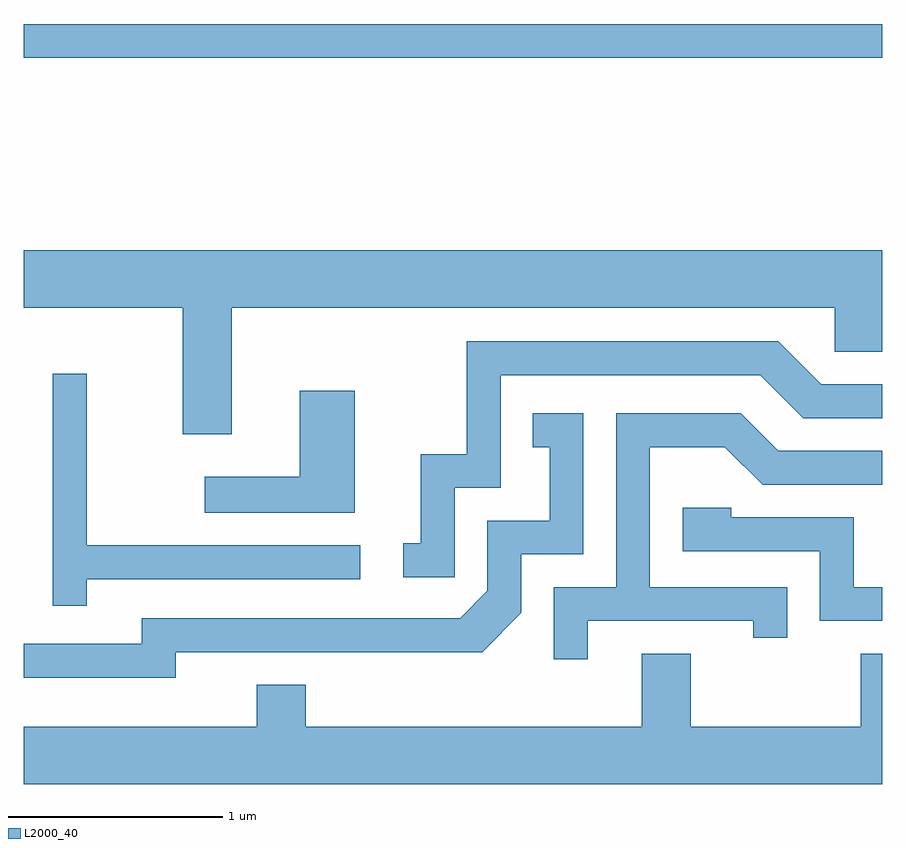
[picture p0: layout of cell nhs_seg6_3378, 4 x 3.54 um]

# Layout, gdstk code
import gdstk
lib = gdstk.Library(unit=1e-6, precision=1e-09)
def R(c, l, rs):  # rectangles x0, y0, x1, y1
    for r in rs: c.add(gdstk.rectangle(r[:2], r[2:], *l))
def P(c, l, *ps):  # polygons
    for p in ps: c.add(gdstk.Polygon(p, *l))
L2000_40 = (2000, 40)

nhs_seg6_3378 = lib.new_cell('nhs_seg6_3378')
R(nhs_seg6_3378, L2000_40, [(287.611,1557.861,291.611,1558.019)])
P(nhs_seg6_3378, L2000_40, [(288.579,1556.696),(291.391,1556.696),(291.391,1556.491),(291.611,1556.491),(291.611,1556.964),(287.611,1556.964),(287.611,1556.696),(288.351,1556.696),(288.351,1556.106),(288.579,1556.106)],
  [(289.619,1555.856),(289.834,1555.856),(289.834,1556.381),(291.044,1556.381),(291.244,1556.181),(291.611,1556.181),(291.611,1556.339),(291.327,1556.339),(291.127,1556.539),(289.676,1556.539),(289.676,1556.014),(289.461,1556.014),(289.461,1555.599),(289.378,1555.599),(289.378,1555.441),(289.619,1555.441)],
  [(287.904,1555.431),(289.178,1555.431),(289.178,1555.589),(287.904,1555.589),(287.904,1556.388),(287.746,1556.388),(287.746,1555.308),(287.904,1555.308)],
  [(289.154,1556.309),(288.896,1556.309),(288.896,1555.909),(288.453,1555.909),(288.453,1555.741),(289.154,1555.741)],
  [(288.319,1555.091),(289.747,1555.091),(289.929,1555.274),(289.929,1555.546),(290.219,1555.546),(290.219,1556.204),(289.983,1556.204),(289.983,1556.046),(290.061,1556.046),(290.061,1555.704),(289.771,1555.704),(289.771,1555.377),(289.644,1555.249),(288.161,1555.249),(288.161,1555.129),(287.611,1555.129),(287.611,1554.971),(288.319,1554.971)],
  [(290.239,1555.236),(291.011,1555.236),(291.011,1555.158),(291.169,1555.158),(291.169,1555.394),(290.529,1555.394),(290.529,1556.046),(290.879,1556.046),(291.054,1555.871),(291.611,1555.871),(291.611,1556.029),(291.127,1556.029),(290.952,1556.204),(290.371,1556.204),(290.371,1555.394),(290.081,1555.394),(290.081,1555.058),(290.239,1555.058)],
  [(291.611,1555.394),(291.479,1555.394),(291.479,1555.719),(290.909,1555.719),(290.909,1555.764),(290.681,1555.764),(290.681,1555.561),(291.321,1555.561),(291.321,1555.236),(291.611,1555.236)],
  [(291.611,1555.084),(291.511,1555.084),(291.511,1554.744),(290.719,1554.744),(290.719,1555.084),(290.491,1555.084),(290.491,1554.744),(288.924,1554.744),(288.924,1554.939),(288.696,1554.939),(288.696,1554.744),(287.611,1554.744),(287.611,1554.476),(291.611,1554.476)])

lib.write_gds('nhs_seg6_3378.gds')
